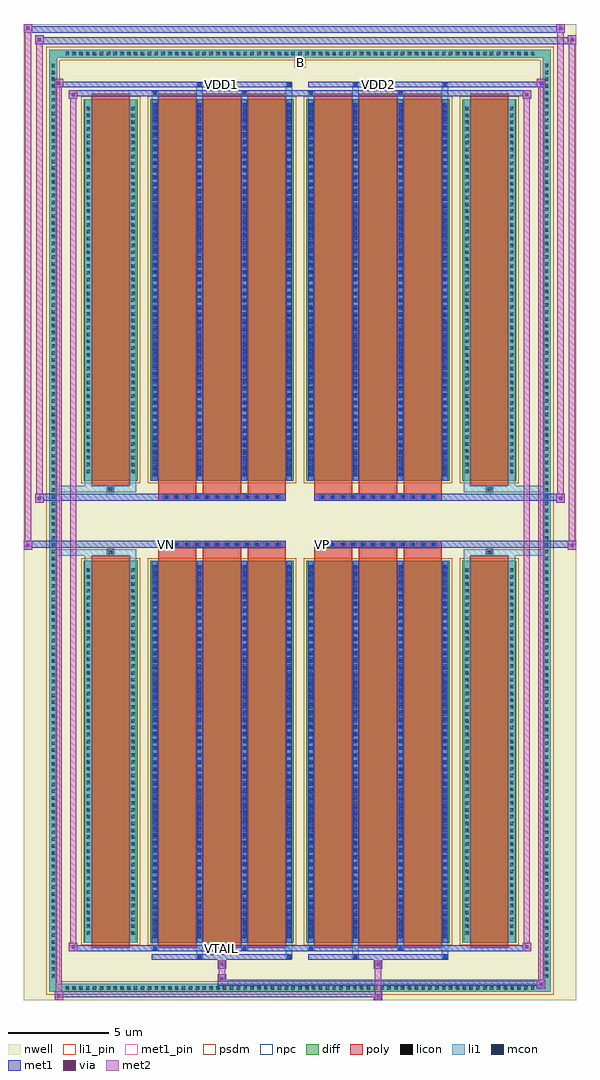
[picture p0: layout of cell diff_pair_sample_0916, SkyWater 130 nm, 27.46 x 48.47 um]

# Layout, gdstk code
import gdstk
lib = gdstk.Library(unit=1e-6, precision=5e-09)
def R(c, l, rs):  # rectangles x0, y0, x1, y1
    for r in rs: c.add(gdstk.rectangle(r[:2], r[2:], *l))
def A(c, l, x, y, w, h, nx, ny, dx, dy):  # array of equal rectangles
    R(c, l, [(x+i*dx, y+j*dy, x+i*dx+w, y+j*dy+h) for i in range(nx) for j in range(ny)])
def P(c, l, *ps):  # polygons
    for p in ps: c.add(gdstk.Polygon(p, *l))
nwell = (64, 20)
diff = (65, 20)
poly = (66, 20)
licon = (66, 44)
li1_pin = (67, 16)
li1 = (67, 20)
mcon = (67, 44)
met1_pin = (68, 16)
met1 = (68, 20)
via = (68, 44)
met2 = (69, 20)
psdm = (94, 20)
npc = (95, 20)

diff_pair_sample_0916 = lib.new_cell('diff_pair_sample_0916')
R(diff_pair_sample_0916, nwell, [(-13.73,-23.8,13.73,24.67), (-11.05,-21.99,-0.01,-0.805), (0.01,-21.99,11.05,-0.805), (-11.05,0.805,-0.01,21.99), (0.01,0.805,11.05,21.99)])
A(diff_pair_sample_0916, diff, -11.765, -23.4, 0.41, 0.41, 69, 2, 0.34, 46.39)
A(diff_pair_sample_0916, diff, -12.46, -22.815, 0.41, 0.41, 1, 134, 0, 0.34)
A(diff_pair_sample_0916, diff, 12.05, -22.815, 0.41, 0.41, 1, 134, 0, 0.34)
R(diff_pair_sample_0916, diff, [(-11.765,-23.4,11.765,-22.99), (-12.46,-22.815,-12.05,22.815), (12.05,-22.815,12.46,22.815), (-10.74,-20.945,-8.07,-1.985), (-7.43,-20.945,-0.32,-1.985), (0.32,-20.945,7.43,-1.985), (8.07,-20.945,10.74,-1.985), (-10.74,1.985,-8.07,20.945), (-7.43,1.985,-0.32,20.945), (0.32,1.985,7.43,20.945), (8.07,1.985,10.74,20.945), (-11.765,22.99,11.765,23.4)])
P(diff_pair_sample_0916, diff, [(12.46,23.4),(-12.46,23.4),(-12.46,-22.99),(-12.05,-22.99),(-12.05,22.99),(12.05,22.99),(12.05,-22.99),(-12.05,-22.99),(-12.46,-22.99),(-12.46,-23.4),(12.46,-23.4)])
A(diff_pair_sample_0916, poly, -7.04, -21.195, 1.89, 19.46, 3, 2, 2.22, 22.93)
A(diff_pair_sample_0916, poly, 0.71, -21.195, 1.89, 19.46, 3, 2, 2.22, 22.93)
A(diff_pair_sample_0916, poly, -7.04, -1.735, 1.89, 0.4, 3, 2, 2.22, 3.07)
A(diff_pair_sample_0916, poly, 0.71, -1.735, 1.89, 0.4, 3, 2, 2.22, 3.07)
A(diff_pair_sample_0916, poly, -6.79, -1.335, 0.33, 0.33, 12, 2, 0.5, 2.34)
A(diff_pair_sample_0916, poly, 0.96, -1.335, 0.33, 0.33, 12, 2, 0.5, 2.34)
R(diff_pair_sample_0916, poly, [(-10.35,-21.195,-8.46,-1.735), (8.46,-21.195,10.35,-1.735), (-9.57,-1.735,-9.24,-1.405), (-9.57,-1.735,-9.24,-1.405), (9.24,-1.735,9.57,-1.405), (9.24,-1.735,9.57,-1.405), (-7.04,-1.335,-0.71,-1.005), (0.71,-1.335,7.04,-1.005), (-7.04,1.005,-0.71,1.335), (0.71,1.005,7.04,1.335), (-9.57,1.405,-9.24,1.735), (-9.57,1.405,-9.24,1.735), (9.24,1.405,9.57,1.735), (9.24,1.405,9.57,1.735), (-10.35,1.735,-8.46,21.195), (8.46,1.735,10.35,21.195)])
A(diff_pair_sample_0916, licon, -11.645, -23.28, 0.17, 0.17, 69, 2, 0.34, 46.39)
A(diff_pair_sample_0916, licon, -12.34, -22.695, 0.17, 0.17, 1, 134, 0, 0.34)
A(diff_pair_sample_0916, licon, 12.17, -22.695, 0.17, 0.17, 1, 134, 0, 0.34)
A(diff_pair_sample_0916, licon, -10.6, -20.56, 0.17, 0.17, 1, 54, 0, 0.34)
A(diff_pair_sample_0916, licon, -8.38, -20.56, 0.17, 0.17, 1, 54, 0, 0.34)
A(diff_pair_sample_0916, licon, -7.29, -20.56, 0.17, 0.17, 4, 54, 2.22, 0.34)
A(diff_pair_sample_0916, licon, 0.46, -20.56, 0.17, 0.17, 4, 54, 2.22, 0.34)
A(diff_pair_sample_0916, licon, 8.21, -20.56, 0.17, 0.17, 1, 54, 0, 0.34)
A(diff_pair_sample_0916, licon, 10.43, -20.56, 0.17, 0.17, 1, 54, 0, 0.34)
A(diff_pair_sample_0916, licon, -6.71, -1.255, 0.17, 0.17, 12, 2, 0.5, 2.34)
A(diff_pair_sample_0916, licon, 1.04, -1.255, 0.17, 0.17, 12, 2, 0.5, 2.34)
A(diff_pair_sample_0916, licon, -10.6, 2.37, 0.17, 0.17, 1, 54, 0, 0.34)
A(diff_pair_sample_0916, licon, -8.38, 2.37, 0.17, 0.17, 1, 54, 0, 0.34)
A(diff_pair_sample_0916, licon, -7.29, 2.37, 0.17, 0.17, 4, 54, 2.22, 0.34)
A(diff_pair_sample_0916, licon, 0.46, 2.37, 0.17, 0.17, 4, 54, 2.22, 0.34)
A(diff_pair_sample_0916, licon, 8.21, 2.37, 0.17, 0.17, 1, 54, 0, 0.34)
A(diff_pair_sample_0916, licon, 10.43, 2.37, 0.17, 0.17, 1, 54, 0, 0.34)
R(diff_pair_sample_0916, licon, [(-9.49,-1.655,-9.32,-1.485), (9.32,-1.655,9.49,-1.485), (-9.49,1.485,-9.32,1.655), (9.32,1.485,9.49,1.655)])
R(diff_pair_sample_0916, li1_pin, [(-0.25,22.49,0.25,22.99)])
A(diff_pair_sample_0916, li1, -11.725, -23.36, 0.33, 0.33, 69, 2, 0.34, 46.39)
A(diff_pair_sample_0916, li1, -12.42, -22.775, 0.33, 0.33, 1, 134, 0, 0.34)
A(diff_pair_sample_0916, li1, 12.09, -22.775, 0.33, 0.33, 1, 134, 0, 0.34)
A(diff_pair_sample_0916, li1, -7.37, -20.945, 0.33, 18.96, 4, 2, 2.22, 22.93)
A(diff_pair_sample_0916, li1, 0.38, -20.945, 0.33, 18.96, 4, 2, 2.22, 22.93)
A(diff_pair_sample_0916, li1, -7.29, -20.73, 0.17, 0.17, 4, 52, 2.22, 0.36)
A(diff_pair_sample_0916, li1, -7.29, -20.73, 0.17, 18.53, 4, 2, 2.22, 22.93)
A(diff_pair_sample_0916, li1, 0.46, -20.73, 0.17, 0.17, 4, 52, 2.22, 0.36)
A(diff_pair_sample_0916, li1, 0.46, -20.73, 0.17, 18.53, 4, 2, 2.22, 22.93)
A(diff_pair_sample_0916, li1, -10.68, -20.64, 0.33, 0.33, 1, 54, 0, 0.34)
A(diff_pair_sample_0916, li1, -8.46, -20.64, 0.33, 0.33, 1, 54, 0, 0.34)
A(diff_pair_sample_0916, li1, -7.37, -20.64, 0.33, 0.33, 4, 54, 2.22, 0.34)
A(diff_pair_sample_0916, li1, 0.38, -20.64, 0.33, 0.33, 4, 54, 2.22, 0.34)
A(diff_pair_sample_0916, li1, 8.13, -20.64, 0.33, 0.33, 1, 54, 0, 0.34)
A(diff_pair_sample_0916, li1, 10.35, -20.64, 0.33, 0.33, 1, 54, 0, 0.34)
A(diff_pair_sample_0916, li1, -6.79, -1.335, 0.33, 0.33, 12, 2, 0.5, 2.34)
A(diff_pair_sample_0916, li1, 0.96, -1.335, 0.33, 0.33, 12, 2, 0.5, 2.34)
A(diff_pair_sample_0916, li1, -7.29, 2.2, 0.17, 0.17, 4, 52, 2.22, 0.36)
A(diff_pair_sample_0916, li1, 0.46, 2.2, 0.17, 0.17, 4, 52, 2.22, 0.36)
A(diff_pair_sample_0916, li1, -10.68, 2.29, 0.33, 0.33, 1, 54, 0, 0.34)
A(diff_pair_sample_0916, li1, -8.46, 2.29, 0.33, 0.33, 1, 54, 0, 0.34)
A(diff_pair_sample_0916, li1, -7.37, 2.29, 0.33, 0.33, 4, 54, 2.22, 0.34)
A(diff_pair_sample_0916, li1, 0.38, 2.29, 0.33, 0.33, 4, 54, 2.22, 0.34)
A(diff_pair_sample_0916, li1, 8.13, 2.29, 0.33, 0.33, 1, 54, 0, 0.34)
A(diff_pair_sample_0916, li1, 10.35, 2.29, 0.33, 0.33, 1, 54, 0, 0.34)
R(diff_pair_sample_0916, li1, [(-12.46,-23.4,-12.05,-22.99), (-12.46,-23.4,-12.05,-22.99), (-12.05,-23.4,12.05,-22.99), (12.05,-23.4,12.46,-22.99), (12.05,-23.4,12.46,-22.99), (-12.46,-22.99,-12.05,22.99), (12.05,-22.99,12.46,22.99), (-5.15,-21.75,-4.82,-20.945), (-5.07,-21.75,-4.9,-21.58), (-0.71,-21.75,-0.38,-20.945), (-0.63,-21.75,-0.46,-21.58), (2.6,-21.75,2.93,-20.945), (2.68,-21.75,2.85,-21.58), (7.04,-21.75,7.37,-20.945), (7.12,-21.75,7.29,-21.58), (-7.37,-21.32,-7.04,-20.945), (-7.29,-21.32,-7.12,-21.15), (-2.93,-21.32,-2.6,-20.945), (-2.85,-21.32,-2.68,-21.15), (0.38,-21.32,0.71,-20.945), (0.46,-21.32,0.63,-21.15), (4.82,-21.32,5.15,-20.945), (4.9,-21.32,5.07,-21.15), (-10.68,-20.945,-10.35,-1.985), (-8.46,-20.945,-8.13,-1.985), (8.13,-20.945,8.46,-1.985), (10.35,-20.945,10.68,-1.985), (-10.68,-1.985,-10.35,-1.405), (-8.46,-1.985,-8.13,-1.405), (8.13,-1.985,8.46,-1.405), (10.35,-1.985,10.68,-1.405), (-12.46,-1.735,-9.57,-1.405), (-10.68,-1.735,-9.57,-1.405), (-9.57,-1.735,-9.24,-1.405), (-9.24,-1.735,-8.13,-1.405), (8.13,-1.735,9.24,-1.405), (9.24,-1.735,9.57,-1.405), (9.24,-1.735,12.46,-1.405), (9.57,-1.735,10.68,-1.405), (-12.46,1.405,-9.57,1.735), (-10.68,1.405,-9.57,1.735), (-10.68,1.405,-10.35,1.985), (-9.57,1.405,-9.24,1.735), (-9.24,1.405,-8.13,1.735), (-8.46,1.405,-8.13,1.985), (8.13,1.405,9.24,1.735), (8.13,1.405,8.46,1.985), (9.24,1.405,9.57,1.735), (9.24,1.405,12.46,1.735), (9.57,1.405,10.68,1.735), (10.35,1.405,10.68,1.985), (-10.68,1.985,-10.35,20.945), (-8.46,1.985,-8.13,20.945), (8.13,1.985,8.46,20.945), (10.35,1.985,10.68,20.945), (-7.37,20.945,-7.04,21.32), (-5.15,20.945,-4.82,21.75), (-2.93,20.945,-2.6,21.32), (-0.71,20.945,-0.38,21.75), (0.38,20.945,0.71,21.32), (2.6,20.945,2.93,21.75), (4.82,20.945,5.15,21.32), (7.04,20.945,7.37,21.75), (-7.29,21.15,-7.12,21.32), (-2.85,21.15,-2.68,21.32), (0.46,21.15,0.63,21.32), (4.9,21.15,5.07,21.32), (-5.07,21.58,-4.9,21.75), (-0.63,21.58,-0.46,21.75), (2.68,21.58,2.85,21.75), (7.12,21.58,7.29,21.75), (-12.46,22.99,-12.05,23.4), (-12.46,22.99,-12.05,23.4), (-12.05,22.99,12.05,23.4), (12.05,22.99,12.46,23.4), (12.05,22.99,12.46,23.4)])
A(diff_pair_sample_0916, mcon, -7.29, -20.73, 0.17, 0.17, 4, 52, 2.22, 0.36)
A(diff_pair_sample_0916, mcon, 0.46, -20.73, 0.17, 0.17, 4, 52, 2.22, 0.36)
A(diff_pair_sample_0916, mcon, -6.71, -1.255, 0.17, 0.17, 12, 2, 0.5, 2.34)
A(diff_pair_sample_0916, mcon, 1.04, -1.255, 0.17, 0.17, 12, 2, 0.5, 2.34)
A(diff_pair_sample_0916, mcon, -7.29, 2.2, 0.17, 0.17, 4, 52, 2.22, 0.36)
A(diff_pair_sample_0916, mcon, 0.46, 2.2, 0.17, 0.17, 4, 52, 2.22, 0.36)
R(diff_pair_sample_0916, mcon, [(-5.07,-21.75,-4.9,-21.58), (-0.63,-21.75,-0.46,-21.58), (2.68,-21.75,2.85,-21.58), (7.12,-21.75,7.29,-21.58), (-7.29,-21.32,-7.12,-21.15), (-2.85,-21.32,-2.68,-21.15), (0.46,-21.32,0.63,-21.15), (4.9,-21.32,5.07,-21.15), (-7.29,21.15,-7.12,21.32), (-2.85,21.15,-2.68,21.32), (0.46,21.15,0.63,21.32), (4.9,21.15,5.07,21.32), (-5.07,21.58,-4.9,21.75), (-0.63,21.58,-0.46,21.75), (2.68,21.58,2.85,21.75), (7.12,21.58,7.29,21.75)])
R(diff_pair_sample_0916, met1_pin, [(-4.01,-21.36,-3.74,-21.09), (-6.76,-1.295,-6.49,-1.025), (0.99,-1.295,1.26,-1.025), (-4.01,21.54,-3.74,21.81), (3.74,21.54,4.01,21.81)])
A(diff_pair_sample_0916, met1, -7.35, -20.945, 0.29, 18.96, 4, 2, 2.22, 22.93)
A(diff_pair_sample_0916, met1, 0.4, -20.945, 0.29, 18.96, 4, 2, 2.22, 22.93)
A(diff_pair_sample_0916, met1, -7.35, -20.79, 0.29, 0.29, 4, 52, 2.22, 0.36)
A(diff_pair_sample_0916, met1, 0.4, -20.79, 0.29, 0.29, 4, 52, 2.22, 0.36)
A(diff_pair_sample_0916, met1, -6.77, -1.315, 0.29, 0.29, 12, 2, 0.5, 2.34)
A(diff_pair_sample_0916, met1, 0.98, -1.315, 0.29, 0.29, 12, 2, 0.5, 2.34)
A(diff_pair_sample_0916, met1, -7.35, 2.14, 0.29, 0.29, 4, 52, 2.22, 0.36)
A(diff_pair_sample_0916, met1, 0.4, 2.14, 0.29, 0.29, 4, 52, 2.22, 0.36)
R(diff_pair_sample_0916, met1, [(-12.19,-23.8,-11.76,-23.37), (3.66,-23.8,4.09,-23.37), (-12.19,-23.66,4.09,-23.37), (11.76,-23.23,12.19,-22.8), (-4.09,-23.09,12.19,-22.8), (-4.09,-22.95,-3.66,-22.52), (-4.09,-22.24,-3.66,-21.81), (3.66,-22.24,4.09,-21.81), (-7.35,-21.81,-0.4,-21.52), (-5.13,-21.81,-4.84,-21.52), (-0.69,-21.81,-0.4,-21.52), (0.4,-21.81,7.35,-21.52), (2.62,-21.81,2.91,-21.52), (7.06,-21.81,7.35,-21.52), (-11.48,-21.38,-11.05,-20.95), (-11.48,-21.38,-7.35,-21.09), (-7.35,-21.38,-7.06,-21.09), (-7.35,-21.38,-0.4,-21.09), (-2.91,-21.38,-2.62,-21.09), (-0.4,-21.38,0.4,-21.09), (0.4,-21.38,0.69,-21.09), (0.4,-21.38,7.35,-21.09), (4.84,-21.38,5.13,-21.09), (7.35,-21.38,11.48,-21.09), (11.05,-21.38,11.48,-20.95), (-13.73,-1.435,-13.3,-1.005), (13.3,-1.435,13.73,-1.005), (-13.73,-1.335,-0.71,-1.005), (-7.04,-1.335,-0.71,-1.005), (0.71,-1.335,7.04,-1.005), (0.71,-1.335,13.73,-1.005), (-13.16,0.905,-12.73,1.335), (12.73,0.905,13.16,1.335), (-13.16,1.005,-7.04,1.335), (-7.04,1.005,-0.71,1.335), (0.71,1.005,7.04,1.335), (7.04,1.005,13.16,1.335), (-11.48,20.95,-11.05,21.38), (11.05,20.95,11.48,21.38), (-11.48,21.09,-7.35,21.38), (-7.35,21.09,-7.06,21.38), (-7.35,21.09,-0.4,21.38), (-2.91,21.09,-2.62,21.38), (-0.4,21.09,0.4,21.38), (0.4,21.09,0.69,21.38), (0.4,21.09,7.35,21.38), (4.84,21.09,5.13,21.38), (7.35,21.09,11.48,21.38), (-12.19,21.52,-11.76,21.95), (-12.19,21.52,-7.35,21.81), (-7.35,21.52,-0.4,21.81), (-5.13,21.52,-4.84,21.81), (-0.69,21.52,-0.4,21.81), (0.4,21.52,7.35,21.81), (2.62,21.52,2.91,21.81), (7.06,21.52,7.35,21.81), (7.35,21.52,12.19,21.81), (11.76,21.52,12.19,21.95), (-13.16,23.67,-12.73,24.1), (-13.16,23.67,-11.05,24), (-11.05,23.67,11.05,24), (11.05,23.67,13.73,24), (13.3,23.67,13.73,24.1), (-13.73,24.24,-13.3,24.67), (-13.73,24.24,-11.05,24.57), (-11.05,24.24,11.05,24.57), (11.05,24.24,13.16,24.57), (12.73,24.24,13.16,24.67)])
R(diff_pair_sample_0916, via, [(-12.05,-23.66,-11.9,-23.51), (3.8,-23.66,3.95,-23.51), (11.9,-23.09,12.05,-22.94), (-3.95,-22.81,-3.8,-22.66), (-3.95,-22.1,-3.8,-21.95), (3.8,-22.1,3.95,-21.95), (-11.34,-21.24,-11.19,-21.09), (11.19,-21.24,11.34,-21.09), (-13.59,-1.295,-13.44,-1.145), (13.44,-1.295,13.59,-1.145), (-13.02,1.045,-12.87,1.195), (12.87,1.045,13.02,1.195), (-11.34,21.09,-11.19,21.24), (11.19,21.09,11.34,21.24), (-12.05,21.66,-11.9,21.81), (11.9,21.66,12.05,21.81), (-13.02,23.81,-12.87,23.96), (13.44,23.81,13.59,23.96), (-13.59,24.38,-13.44,24.53), (12.87,24.38,13.02,24.53)])
R(diff_pair_sample_0916, met2, [(-12.19,-23.8,-11.76,-23.37), (-12.12,-23.8,-11.83,21.95), (-11.83,-23.8,-11.76,-23.37), (-12.14,-23.75,-11.81,-23.42), (3.71,-23.75,4.04,-23.42), (3.71,-23.42,4.04,-22.19), (11.76,-23.23,12.19,-22.8), (11.83,-23.23,12.12,21.95), (12.12,-23.23,12.19,-22.8), (11.81,-23.18,12.14,-22.85), (-4.04,-22.9,-3.71,-22.57), (-4.04,-22.57,-3.71,-22.19), (-4.04,-22.19,-3.71,-21.86), (3.71,-22.19,4.04,-21.86), (-11.48,-21.38,-11.05,-20.95), (-11.41,-21.38,-11.12,21.38), (-11.12,-21.38,-11.05,-20.95), (11.05,-21.38,11.48,-20.95), (11.12,-21.38,11.41,21.38), (11.41,-21.38,11.48,-20.95), (-11.43,-21.33,-11.1,-21), (11.1,-21.33,11.43,-21), (-13.73,-1.435,-13.3,-1.005), (-13.68,-1.435,-13.35,24.67), (-13.35,-1.435,-13.3,-1.005), (13.3,-1.435,13.73,-1.005), (13.35,-1.435,13.68,24.1), (13.68,-1.435,13.73,-1.005), (-13.68,-1.385,-13.35,-1.055), (13.35,-1.385,13.68,-1.055), (-13.16,0.905,-12.73,1.335), (-13.11,0.905,-12.78,24.1), (-12.78,0.905,-12.73,1.335), (12.73,0.905,13.16,1.335), (12.78,0.905,13.11,24.67), (13.11,0.905,13.16,1.335), (-13.11,0.955,-12.78,1.285), (12.78,0.955,13.11,1.285), (-11.48,20.95,-11.05,21.38), (-11.12,20.95,-11.05,21.38), (11.05,20.95,11.48,21.38), (11.41,20.95,11.48,21.38), (-11.43,21,-11.1,21.33), (11.1,21,11.43,21.33), (-12.19,21.52,-11.76,21.95), (-11.83,21.52,-11.76,21.95), (11.76,21.52,12.19,21.95), (12.12,21.52,12.19,21.95), (-12.14,21.57,-11.81,21.9), (11.81,21.57,12.14,21.9), (-13.16,23.67,-12.73,24.1), (-12.78,23.67,-12.73,24.1), (13.3,23.67,13.73,24.1), (13.68,23.67,13.73,24.1), (-13.11,23.72,-12.78,24.05), (13.35,23.72,13.68,24.05), (-13.73,24.24,-13.3,24.67), (-13.35,24.24,-13.3,24.67), (12.73,24.24,13.16,24.67), (13.11,24.24,13.16,24.67), (-13.68,24.29,-13.35,24.62), (12.78,24.29,13.11,24.62)])
R(diff_pair_sample_0916, psdm, [(-10.87,-21.075,-7.94,-1.855), (-7.56,-21.075,-0.19,-1.855), (0.19,-21.075,7.56,-1.855), (7.94,-21.075,10.87,-1.855), (-10.87,1.855,-7.94,21.075), (-7.56,1.855,-0.19,21.075), (0.19,1.855,7.56,21.075), (7.94,1.855,10.87,21.075)])
P(diff_pair_sample_0916, psdm, [(12.59,23.53),(-12.59,23.53),(-12.59,-22.86),(-11.92,-22.86),(-11.92,22.86),(11.92,22.86),(11.92,-22.86),(-11.92,-22.86),(-12.59,-22.86),(-12.59,-23.53),(12.59,-23.53)])
A(diff_pair_sample_0916, npc, -6.81, -1.355, 0.37, 0.37, 12, 2, 0.5, 2.34)
A(diff_pair_sample_0916, npc, 0.94, -1.355, 0.37, 0.37, 12, 2, 0.5, 2.34)
R(diff_pair_sample_0916, npc, [(-9.59,-1.755,-9.22,-1.385), (9.22,-1.755,9.59,-1.385), (-6.81,-1.355,-5.94,-0.985), (-6.81,-1.355,-5.94,-0.985), (-6.31,-1.355,-5.44,-0.985), (-6.31,-1.355,-5.44,-0.985), (-5.81,-1.355,-4.94,-0.985), (-5.81,-1.355,-4.94,-0.985), (-5.31,-1.355,-4.44,-0.985), (-5.31,-1.355,-4.44,-0.985), (-4.81,-1.355,-3.94,-0.985), (-4.81,-1.355,-3.94,-0.985), (-4.31,-1.355,-3.44,-0.985), (-4.31,-1.355,-3.44,-0.985), (-3.81,-1.355,-2.94,-0.985), (-3.81,-1.355,-2.94,-0.985), (-3.31,-1.355,-2.44,-0.985), (-3.31,-1.355,-2.44,-0.985), (-2.81,-1.355,-1.94,-0.985), (-2.81,-1.355,-1.94,-0.985), (-2.31,-1.355,-1.44,-0.985), (-2.31,-1.355,-1.44,-0.985), (-1.81,-1.355,-0.94,-0.985), (-1.81,-1.355,-0.94,-0.985), (0.94,-1.355,1.81,-0.985), (0.94,-1.355,1.81,-0.985), (1.44,-1.355,2.31,-0.985), (1.44,-1.355,2.31,-0.985), (1.94,-1.355,2.81,-0.985), (1.94,-1.355,2.81,-0.985), (2.44,-1.355,3.31,-0.985), (2.44,-1.355,3.31,-0.985), (2.94,-1.355,3.81,-0.985), (2.94,-1.355,3.81,-0.985), (3.44,-1.355,4.31,-0.985), (3.44,-1.355,4.31,-0.985), (3.94,-1.355,4.81,-0.985), (3.94,-1.355,4.81,-0.985), (4.44,-1.355,5.31,-0.985), (4.44,-1.355,5.31,-0.985), (4.94,-1.355,5.81,-0.985), (4.94,-1.355,5.81,-0.985), (5.44,-1.355,6.31,-0.985), (5.44,-1.355,6.31,-0.985), (5.94,-1.355,6.81,-0.985), (5.94,-1.355,6.81,-0.985), (-6.81,0.985,-5.94,1.355), (-6.81,0.985,-5.94,1.355), (-6.31,0.985,-5.44,1.355), (-6.31,0.985,-5.44,1.355), (-5.81,0.985,-4.94,1.355), (-5.81,0.985,-4.94,1.355), (-5.31,0.985,-4.44,1.355), (-5.31,0.985,-4.44,1.355), (-4.81,0.985,-3.94,1.355), (-4.81,0.985,-3.94,1.355), (-4.31,0.985,-3.44,1.355), (-4.31,0.985,-3.44,1.355), (-3.81,0.985,-2.94,1.355), (-3.81,0.985,-2.94,1.355), (-3.31,0.985,-2.44,1.355), (-3.31,0.985,-2.44,1.355), (-2.81,0.985,-1.94,1.355), (-2.81,0.985,-1.94,1.355), (-2.31,0.985,-1.44,1.355), (-2.31,0.985,-1.44,1.355), (-1.81,0.985,-0.94,1.355), (-1.81,0.985,-0.94,1.355), (0.94,0.985,1.81,1.355), (0.94,0.985,1.81,1.355), (1.44,0.985,2.31,1.355), (1.44,0.985,2.31,1.355), (1.94,0.985,2.81,1.355), (1.94,0.985,2.81,1.355), (2.44,0.985,3.31,1.355), (2.44,0.985,3.31,1.355), (2.94,0.985,3.81,1.355), (2.94,0.985,3.81,1.355), (3.44,0.985,4.31,1.355), (3.44,0.985,4.31,1.355), (3.94,0.985,4.81,1.355), (3.94,0.985,4.81,1.355), (4.44,0.985,5.31,1.355), (4.44,0.985,5.31,1.355), (4.94,0.985,5.81,1.355), (4.94,0.985,5.81,1.355), (5.44,0.985,6.31,1.355), (5.44,0.985,6.31,1.355), (5.94,0.985,6.81,1.355), (5.94,0.985,6.81,1.355), (-9.59,1.385,-9.22,1.755), (9.22,1.385,9.59,1.755)])
diff_pair_sample_0916.add(gdstk.Label('VTAIL', (-3.875,-21.225), layer=68, texttype=5))
diff_pair_sample_0916.add(gdstk.Label('VN', (-6.625,-1.16), layer=68, texttype=5))
diff_pair_sample_0916.add(gdstk.Label('VP', (1.125,-1.16), layer=68, texttype=5))
diff_pair_sample_0916.add(gdstk.Label('B', (0,22.74), layer=67, texttype=5))
diff_pair_sample_0916.add(gdstk.Label('VDD2', (3.875,21.675), layer=68, texttype=5))
diff_pair_sample_0916.add(gdstk.Label('VDD1', (-3.875,21.675), layer=68, texttype=5))

lib.write_gds('diff_pair_sample_0916.gds')
